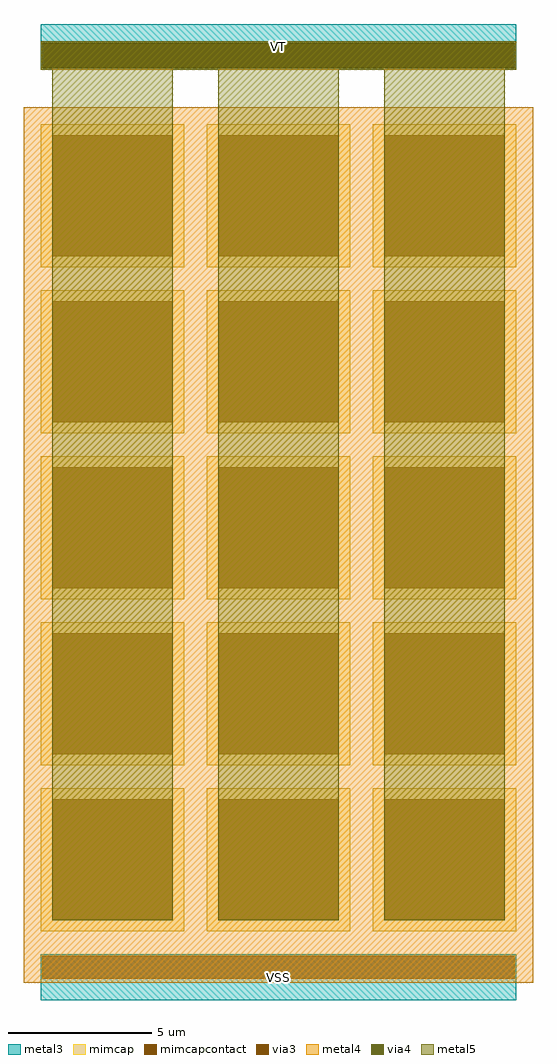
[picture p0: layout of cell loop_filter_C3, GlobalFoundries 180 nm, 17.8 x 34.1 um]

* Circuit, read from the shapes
.subckt loop_filter_C3 VT VSS
XC1 VT VSS cap_mim_2f0fF c_width=5u c_length=5u m=15
.ends

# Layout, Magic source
magic
tech gf180mcuD
magscale 1 10
<< metal3 >>
rect 0 -340 3320 -160
rect 0 6020 3320 6220
rect 0 6020 3320 6340
rect 0 6020 3320 6340
rect 0 -480 3320 -160
rect 0 -480 3320 -160
<< metal4 >>
rect -120 -360 3440 5760
rect 0 -340 3320 -160
rect 0 6020 3320 6220
rect 0 6020 3320 6220
<< mimcap >>
rect 0 0 1000 1000
rect 1160 0 2160 1000
rect 2320 0 3320 1000
rect 0 1160 1000 2160
rect 1160 1160 2160 2160
rect 2320 1160 3320 2160
rect 0 2320 1000 3320
rect 1160 2320 2160 3320
rect 2320 2320 3320 3320
rect 0 3480 1000 4480
rect 1160 3480 2160 4480
rect 2320 3480 3320 4480
rect 0 4640 1000 5640
rect 1160 4640 2160 5640
rect 2320 4640 3320 5640
<< metal5 >>
rect 78 78 922 6120
rect 1238 78 2082 6120
rect 2398 78 3242 6120
rect 0 6020 3320 6220
rect 0 6020 3320 6220
<< via3 >>
rect 10 -330 3310 -170
rect 10 6030 3310 6210
<< via4 >>
rect 10 6030 3310 6210
<< mimcapcontact >>
rect 78 78 922 922
rect 1238 78 2082 922
rect 2398 78 3242 922
rect 78 1238 922 2082
rect 1238 1238 2082 2082
rect 2398 1238 3242 2082
rect 78 2398 922 3242
rect 1238 2398 2082 3242
rect 2398 2398 3242 3242
rect 78 3558 922 4402
rect 1238 3558 2082 4402
rect 2398 3558 3242 4402
rect 78 4718 922 5562
rect 1238 4718 2082 5562
rect 2398 4718 3242 5562
<< labels >>
flabel metal3 s 0 6020 3320 6340 0 FreeSans 80 0 0 0 VT
port 1 nsew signal bidirectional
flabel metal3 s 0 -480 3320 -160 0 FreeSans 80 0 0 0 VSS
port 2 nsew signal bidirectional
<< end >>
